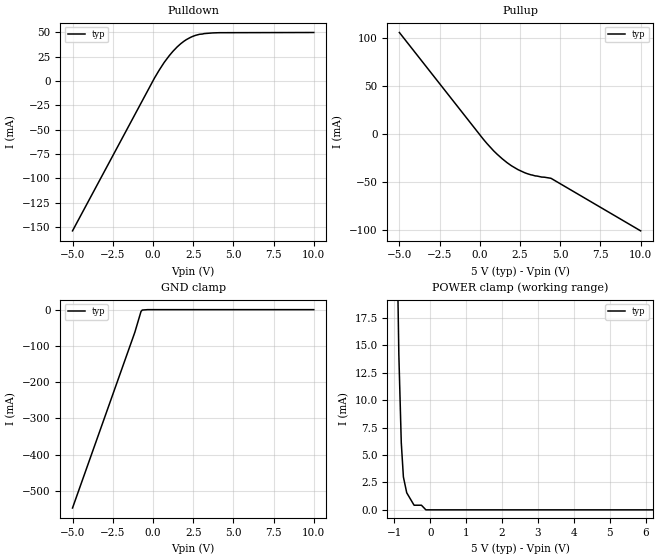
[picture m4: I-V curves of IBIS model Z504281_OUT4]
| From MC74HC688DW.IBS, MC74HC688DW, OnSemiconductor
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| (C) COPYRIGHT 1993-2000
| MENTOR GRAPHICS CORPORATION
| ICX STANDARD LIBRARY, ICX PROJECT MODELING,
| ICX CUSTOM MODELING, ICX VENDOR MODEL
| ALL RIGHTS RESERVED.
| THE FOLLOWING ARE TRADEMARKS OR SERVICE MARKS OF
| MENTOR GRAPHICS CORPORATION:ICX (R), ICX STANDARD
| LIBRARY(R), ICX PROJECT MODELING(R), ICX CUSTOM
| MODELING(R), qualityIBIS(TM), MODELVIEWER(TM),
| AND MODELEDITOR(TM)
| ALL COPIES OF SOFTWARE, INCLUDING BUT NOT LIMITED TO
| ANY MODIFICATIONS, ENHANCEMENTS OR DERIVATIVE WORKS,
| MUST CONTAIN ALL MENTOR GRAPHICS CORPORATION'S
| NOTICES AND LEGENDS, INCLUDING THOSE EMBEDDED IN
| SOFTWARE AND THOSE AFFIXED TO SOFTWARE MEDIUM
| AND CONTAINER, AS RECEIVED FROM MENTOR GRAPHICS
| CORPORATION.
| Model Application Version 1.89 2/18/99.
[Model] Z504281_OUT4
Model_type Output
Vref=0.000V
Rref=500.0Mohms
Cref=50.00pF
Vmeas=2.500V
C_comp 8.000pF NA NA
| variable typ   min   max
[Voltage Range] 5.000V NA NA
[POWER Clamp Reference] 5.000V NA NA
[Pullup Reference] 5.000V NA NA
[Pulldown Reference] 0.000V NA NA
[GND Clamp Reference] 0.000V NA NA
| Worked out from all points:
|   slope of the pulldown table from 0 to 0.75 V, typ, clamps not added: 37.3 ohm
|   slope of the pullup table from 0 to 0.75 V, typ, clamps not added: 51 ohm
|   POWER clamp passes 1 mA (typ) near -0.56 V on its own axis
[GND Clamp]
-5V       -547.4mA   NA         NA
-1.123V   -62.27mA   NA         NA
-741.9mV  -5.116mA   NA         NA
-664.1mV  -1.123mA   NA         NA
-332mV    0A         NA         NA
10V       0A         NA         NA
[Pulldown]
-5V       -154mA     NA         NA
102.7mV   3.225mA    NA         NA
703.2mV   19.16mA    NA         NA
1.018V    26.07mA    NA         NA
1.74V     38.47mA    NA         NA
2.076V    42.49mA    NA         NA
2.471V    45.83mA    NA         NA
3.185V    48.71mA    NA         NA
4.145V    49.64mA    NA         NA
10V       49.84mA    NA         NA
[Pullup]
-5V       105.7mA    NA         NA
215mV     -5.106mA   NA         NA
860mV     -17.24mA   NA         NA
1.392V    -25.46mA   NA         NA
1.963V    -32.72mA   NA         NA
2.794V    -40.02mA   NA         NA
3.448V    -43.31mA   NA         NA
4.424V    -45.77mA   NA         NA
10V       -100.4mA   NA         NA
[POWER Clamp]
-5V       1.214A     NA         NA
-1.436V   153mA      NA         NA
-1.055V   50.79mA    NA         NA
-879mV    14.16mA    NA         NA
-811mV    6.126mA    NA         NA
-752mV    2.999mA    NA         NA
-659mV    1.555mA    NA         NA
-454mV    421.9uA    NA         NA
-249mV    421.9uA    NA         NA
-124.5mV  0A         NA         NA
10V       0A         NA         NA
[Ramp]
| variable typ min max
dV/dt_r 2.749/1.993n NA NA
dV/dt_f 2.749/1.703n NA NA
R_load = 500.0Ohms
